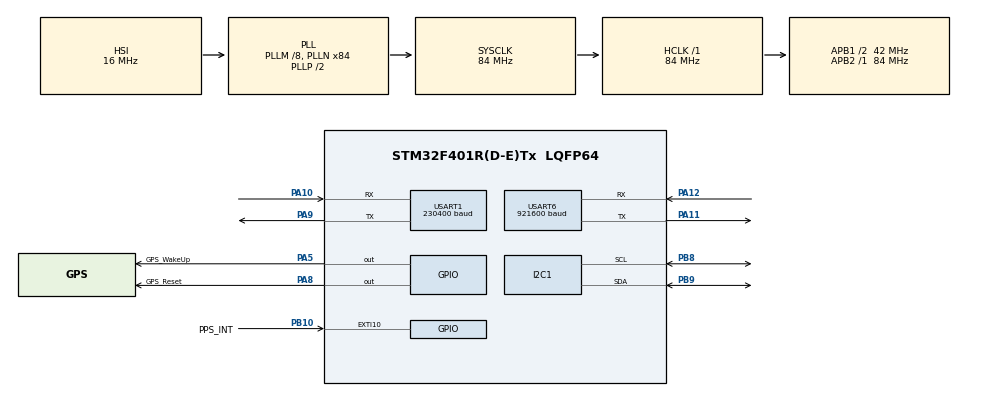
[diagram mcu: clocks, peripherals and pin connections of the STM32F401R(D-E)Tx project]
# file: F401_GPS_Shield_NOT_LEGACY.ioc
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Dma.Request0=USART1_RX
Dma.USART1_RX.0.Direction=DMA_PERIPH_TO_MEMORY
Dma.USART1_RX.0.FIFOMode=DMA_FIFOMODE_DISABLE
Dma.USART1_RX.0.Instance=DMA2_Stream2
Dma.USART1_RX.0.MemDataAlignment=DMA_MDATAALIGN_BYTE
Dma.USART1_RX.0.MemInc=DMA_MINC_ENABLE
Dma.USART1_RX.0.Mode=DMA_NORMAL
Dma.USART1_RX.0.PeriphDataAlignment=DMA_PDATAALIGN_BYTE
Dma.USART1_RX.0.PeriphInc=DMA_PINC_DISABLE
Dma.USART1_RX.0.Priority=DMA_PRIORITY_HIGH
Mcu.Family=STM32F4
Mcu.Name=STM32F401R(D-E)Tx
Mcu.Package=LQFP64
NVIC.DMA2_Stream2_IRQn=true\:0\:0\:false\:false\:true\:false\:true\:true
NVIC.EXTI15_10_IRQn=true\:0\:0\:false\:false\:true\:true\:true\:true
NVIC.PriorityGroup=NVIC_PRIORITYGROUP_4
NVIC.TIM1_TRG_COM_TIM11_IRQn=true\:0\:0\:false\:false\:true\:true\:true\:true
PA10.GPIO_PuPd=GPIO_PULLUP
PA10.Mode=Asynchronous
PA10.Signal=USART1_RX
PA11.Mode=Asynchronous
PA11.Signal=USART6_TX
PA12.Mode=Asynchronous
PA12.Signal=USART6_RX
PA13.Mode=Serial_Wire
PA13.Signal=SYS_JTMS-SWDIO
PA14.Mode=Serial_Wire
PA14.Signal=SYS_JTCK-SWCLK
PA5.GPIO_Label=GPS_WakeUp
PA5.Signal=GPIO_Output
PA8.GPIO_Label=GPS_Reset
PA8.Signal=GPIO_Output
PA9.GPIO_PuPd=GPIO_PULLUP
PA9.Mode=Asynchronous
PA9.Signal=USART1_TX
PB10.GPIO_Label=PPS_INT
PB10.GPIO_PuPd=GPIO_PULLDOWN
PB10.Signal=GPXTI10
PB8.GPIO_Pu=GPIO_PULLUP
PB8.Mode=I2C
PB8.Signal=I2C1_SCL
PB9.GPIO_Pu=GPIO_PULLUP
PB9.Mode=I2C
PB9.Signal=I2C1_SDA
ProjectManager.HeapSize=0x200
ProjectManager.StackSize=0x400
ProjectManager.TargetToolchain=STM32CubeIDE
RCC.48MHZClocksFreq_Value=42000000
RCC.AHBFreq_Value=84000000
RCC.APB1CLKDivider=RCC_HCLK_DIV2
RCC.APB1Freq_Value=42000000
RCC.APB1TimFreq_Value=84000000
RCC.APB2Freq_Value=84000000
RCC.APB2TimFreq_Value=84000000
RCC.CortexFreq_Value=84000000
RCC.HCLKFreq_Value=84000000
RCC.HSE_VALUE=25000000
RCC.HSI_VALUE=16000000
RCC.LSE_VALUE=32768
RCC.PLLM=8
RCC.PLLN=84
RCC.SYSCLKFreq_VALUE=84000000
RCC.SYSCLKSource=RCC_SYSCLKSOURCE_PLLCLK
RCC.VCOOutputFreq_Value=168000000
TIM11.Period=62499
TIM11.Prescaler=335
USART1.BaudRate=230400
USART1.VirtualMode=VM_ASYNC
USART6.BaudRate=921600
USART6.VirtualMode=VM_ASYNC
VP_TIM11_VS_ClockSourceINT.Mode=Enable_Timer
board=custom

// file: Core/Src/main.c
/* USER CODE BEGIN Header */
/* USER CODE END Header */
#include "main.h"
#include <stdio.h>
#include <stdbool.h>

/* USER CODE BEGIN Includes */
#include "stts22h.h"
#include "gnss_driver.h"
/* USER CODE END Includes */

/* USER CODE BEGIN PD */
#define	MESSAGE_BUFFER_MAX_LENGTH	200
#define UART_TIMEOUT			10
/* USER CODE END PD */

I2C_HandleTypeDef hi2c1;

TIM_HandleTypeDef htim11;

UART_HandleTypeDef huart1;
UART_HandleTypeDef huart6;
DMA_HandleTypeDef hdma_usart1_rx;

/* USER CODE BEGIN PV */
static uint8_t whoami;
static uint8_t temp[2];
static uint8_t message_buffer[MESSAGE_BUFFER_MAX_LENGTH];
static uint8_t gps_message_buffer[MESSAGE_BUFFER_MAX_LENGTH];
static uint8_t temperature_message_buffer[MESSAGE_BUFFER_MAX_LENGTH];
static uint8_t *message_ptr;
static uint8_t *gps_message_ptr;
static uint8_t *temperature_message_ptr;
static uint8_t message_buffer_length = 0;
static bool tim11_flag = false, pps_flag = false;
static float temperature;
/* USER CODE END PV */

void SystemClock_Config(void);
static void MX_GPIO_Init(void);
static void MX_DMA_Init(void);
static void MX_I2C1_Init(void);
static void MX_USART1_UART_Init(void);
static void MX_USART6_UART_Init(void);
static void MX_TIM11_Init(void);

int main(void)
{

  /* MCU Configuration--------------------------------------------------------*/

  /* Reset of all peripherals, Initializes the Flash interface and the Systick. */
  HAL_Init();

  /* Configure the system clock */
  SystemClock_Config();

  /* Initialize all configured peripherals */
  MX_GPIO_Init();
  MX_DMA_Init();
  MX_I2C1_Init();
  MX_USART1_UART_Init();
  MX_USART6_UART_Init();
  MX_TIM11_Init();
  /* USER CODE BEGIN 2 */
  STTS22H_WhoAmI(&whoami);
  message_buffer_length = snprintf((char *)message_buffer, MESSAGE_BUFFER_MAX_LENGTH, "I am - 0x%02X\r\n", whoami);
  HAL_UART_Transmit(&huart6, message_buffer, message_buffer_length, UART_TIMEOUT);

  STTS22H_Temp_ODR_Enable();

  gnss_driver_init();
  /* USER CODE END 2 */

  /* Infinite loop */
  /* USER CODE BEGIN WHILE */
  while(1){

	  if(tim11_flag){
		  STTS22H_Temp_Get(temp);
		  temperature = (int16_t)((temp[1] << 8) | temp[0]) * 0.01f;

		  snprintf((char *)temperature_message_buffer, MESSAGE_BUFFER_MAX_LENGTH, "%.2f\r\n", temperature);
		  // In the fashion of saving memory a function for float to string conversion could be
		  // written and concatenated to the main message in the same style GPS message is.
		  temperature_message_ptr = temperature_message_buffer;

		  message_ptr = message_buffer + 44;		// Temperature starts from 44th byte.

		  for (int i = 0; i < 5; i++) {
		      *message_ptr++ = *temperature_message_ptr++;  // Data size 5 bytes
		  }

		  *message_ptr++ = '\r';
		  *message_ptr++ = '\n';
		  *message_ptr   = '\0';

		  message_ptr = message_buffer;
		  message_buffer_length = 0;

		  while (*message_ptr++ != '\0') {
		      message_buffer_length++;
		  }

		  HAL_UART_Transmit(&huart6, message_buffer, message_buffer_length, UART_TIMEOUT);

		  tim11_flag = false;
	  }

	  if(pps_flag){
		  snprintf((char *)message_buffer, MESSAGE_BUFFER_MAX_LENGTH, "NM,");
		  message_ptr = message_buffer + 3;	      // Skip first 3 bytes

		  // GPPGA starts from 70th byte.
		  gps_message_ptr = gps_message_buffer + 88;  // Beginning of coordinate 88th byte, data size 27 bytes
		  for (int i = 0; i < 27; i++) {
		      *message_ptr++ = *gps_message_ptr++;
		  }

		  gps_message_ptr = gps_message_buffer + 77;   // Beginning of time 77th byte, data size 11 bytes
		  for (int i = 0; i < 11; i++) {
		      *message_ptr++ = *gps_message_ptr++;
		  }

		  gps_message_ptr = gps_message_buffer + 117;  // Beginning of received satellites 117th byte, data size 3 bytes
		  for (int i = 0; i < 3; i++) {
		      *message_ptr++ = *gps_message_ptr++;
		  }

		  pps_flag = false;

		  /* TIM11 Synchronization (enabling timer only after gps_message has been processed) checking
		   * if State == HAL_TIM_STATE_READY isn't necessary, because that happens inside the function. 	*/
		  HAL_TIM_Base_Start_IT(&htim11);
	  }

  }
    /* USER CODE END WHILE */

}

void SystemClock_Config(void)
{
  RCC_OscInitTypeDef RCC_OscInitStruct = {0};
  RCC_ClkInitTypeDef RCC_ClkInitStruct = {0};

  /** Configure the main internal regulator output voltage
  */
  __HAL_RCC_PWR_CLK_ENABLE();
  __HAL_PWR_VOLTAGESCALING_CONFIG(PWR_REGULATOR_VOLTAGE_SCALE2);

  /** Initializes the RCC Oscillators according to the specified parameters
  * in the RCC_OscInitTypeDef structure.
90  */
  RCC_OscInitStruct.OscillatorType = RCC_OSCILLATORTYPE_HSI;
  RCC_OscInitStruct.HSIState = RCC_HSI_ON;
  RCC_OscInitStruct.HSICalibrationValue = RCC_HSICALIBRATION_DEFAULT;
  RCC_OscInitStruct.PLL.PLLState = RCC_PLL_ON;
  RCC_OscInitStruct.PLL.PLLSource = RCC_PLLSOURCE_HSI;
  RCC_OscInitStruct.PLL.PLLM = 8;
  RCC_OscInitStruct.PLL.PLLN = 84;
  RCC_OscInitStruct.PLL.PLLP = RCC_PLLP_DIV2;
  RCC_OscInitStruct.PLL.PLLQ = 4;
  if (HAL_RCC_OscConfig(&RCC_OscInitStruct) != HAL_OK)
  {
    Error_Handler();
  }

  /** Initializes the CPU, AHB and APB buses clocks
  */
  RCC_ClkInitStruct.ClockType = RCC_CLOCKTYPE_HCLK|RCC_CLOCKTYPE_SYSCLK
                              |RCC_CLOCKTYPE_PCLK1|RCC_CLOCKTYPE_PCLK2;
  RCC_ClkInitStruct.SYSCLKSource = RCC_SYSCLKSOURCE_PLLCLK;
  RCC_ClkInitStruct.AHBCLKDivider = RCC_SYSCLK_DIV1;
  RCC_ClkInitStruct.APB1CLKDivider = RCC_HCLK_DIV2;
  RCC_ClkInitStruct.APB2CLKDivider = RCC_HCLK_DIV1;

  if (HAL_RCC_ClockConfig(&RCC_ClkInitStruct, FLASH_LATENCY_2) != HAL_OK)
  {
    Error_Handler();
  }
}

static void MX_I2C1_Init(void)
{

  hi2c1.Instance = I2C1;
  hi2c1.Init.ClockSpeed = 100000;
  hi2c1.Init.DutyCycle = I2C_DUTYCYCLE_2;
  hi2c1.Init.OwnAddress1 = 0;
  hi2c1.Init.AddressingMode = I2C_ADDRESSINGMODE_7BIT;
  hi2c1.Init.DualAddressMode = I2C_DUALADDRESS_DISABLE;
  hi2c1.Init.OwnAddress2 = 0;
  hi2c1.Init.GeneralCallMode = I2C_GENERALCALL_DISABLE;
  hi2c1.Init.NoStretchMode = I2C_NOSTRETCH_DISABLE;
  if (HAL_I2C_Init(&hi2c1) != HAL_OK)
  {
    Error_Handler();
  }

}

static void MX_TIM11_Init(void)
{

  htim11.Instance = TIM11;
  htim11.Init.Prescaler = 335;
  htim11.Init.CounterMode = TIM_COUNTERMODE_UP;
  htim11.Init.Period = 62499;
  htim11.Init.ClockDivision = TIM_CLOCKDIVISION_DIV1;
  htim11.Init.AutoReloadPreload = TIM_AUTORELOAD_PRELOAD_DISABLE;
  if (HAL_TIM_Base_Init(&htim11) != HAL_OK)
  {
    Error_Handler();
  }

}

static void MX_USART1_UART_Init(void)
{

  huart1.Instance = USART1;
  huart1.Init.BaudRate = 230400;
  huart1.Init.WordLength = UART_WORDLENGTH_8B;
  huart1.Init.StopBits = UART_STOPBITS_1;
  huart1.Init.Parity = UART_PARITY_NONE;
  huart1.Init.Mode = UART_MODE_TX_RX;
  huart1.Init.HwFlowCtl = UART_HWCONTROL_NONE;
  huart1.Init.OverSampling = UART_OVERSAMPLING_16;
  if (HAL_UART_Init(&huart1) != HAL_OK)
  {
    Error_Handler();
  }

}

static void MX_USART6_UART_Init(void)
{

  huart6.Instance = USART6;
  huart6.Init.BaudRate = 921600;
  huart6.Init.WordLength = UART_WORDLENGTH_8B;
  huart6.Init.StopBits = UART_STOPBITS_1;
  huart6.Init.Parity = UART_PARITY_NONE;
  huart6.Init.Mode = UART_MODE_TX_RX;
  huart6.Init.HwFlowCtl = UART_HWCONTROL_NONE;
  huart6.Init.OverSampling = UART_OVERSAMPLING_16;
  if (HAL_UART_Init(&huart6) != HAL_OK)
  {
    Error_Handler();
  }

}

static void MX_DMA_Init(void)
{

  /* DMA controller clock enable */
  __HAL_RCC_DMA2_CLK_ENABLE();

  /* DMA interrupt init */
  /* DMA2_Stream2_IRQn interrupt configuration */
  HAL_NVIC_SetPriority(DMA2_Stream2_IRQn, 0, 0);
  HAL_NVIC_EnableIRQ(DMA2_Stream2_IRQn);

}

static void MX_GPIO_Init(void)
{
  GPIO_InitTypeDef GPIO_InitStruct = {0};

  /* GPIO Ports Clock Enable */
  __HAL_RCC_GPIOA_CLK_ENABLE();
  __HAL_RCC_GPIOB_CLK_ENABLE();

  /*Configure GPIO pin Output Level */
  HAL_GPIO_WritePin(GPIOA, GPS_WakeUp_Pin|GPS_Reset_Pin, GPIO_PIN_RESET);

  /*Configure GPIO pins : GPS_WakeUp_Pin GPS_Reset_Pin */
  GPIO_InitStruct.Pin = GPS_WakeUp_Pin|GPS_Reset_Pin;
  GPIO_InitStruct.Mode = GPIO_MODE_OUTPUT_PP;
  GPIO_InitStruct.Pull = GPIO_NOPULL;
  GPIO_InitStruct.Speed = GPIO_SPEED_FREQ_LOW;
  HAL_GPIO_Init(GPIOA, &GPIO_InitStruct);

  /*Configure GPIO pin : PPS_INT_Pin */
  GPIO_InitStruct.Pin = PPS_INT_Pin;
  GPIO_InitStruct.Mode = GPIO_MODE_IT_RISING;
  GPIO_InitStruct.Pull = GPIO_PULLDOWN;
  HAL_GPIO_Init(PPS_INT_GPIO_Port, &GPIO_InitStruct);

  /* EXTI interrupt init*/
  HAL_NVIC_SetPriority(EXTI15_10_IRQn, 0, 0);
  HAL_NVIC_EnableIRQ(EXTI15_10_IRQn);

}

/* USER CODE BEGIN 4 */
void HAL_TIM_PeriodElapsedCallback(TIM_HandleTypeDef *htim)
{
  if (htim->Instance == TIM11)
  {
	  tim11_flag = true;
  }
}

void HAL_GPIO_EXTI_Callback(uint16_t GPIO_Pin){
	/* PPS interrupt handler */
	if(GPIO_Pin == PPS_INT_Pin){
		/* PPS interrupt found, receive DMA data */
		pps_flag = true;
		HAL_UART_Receive_DMA(&huart1, gps_message_buffer, MESSAGE_BUFFER_MAX_LENGTH);
	}
}

/* USER CODE END 4 */

void Error_Handler(void)
{
}
